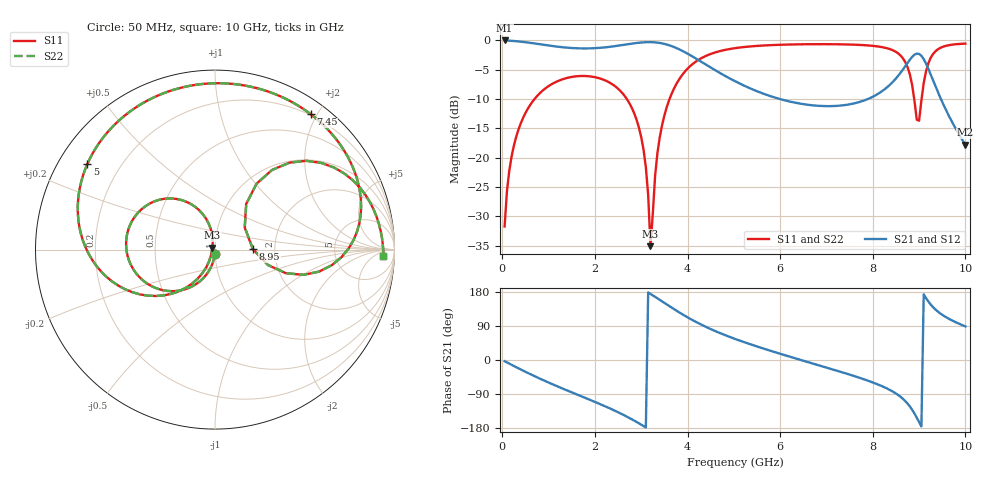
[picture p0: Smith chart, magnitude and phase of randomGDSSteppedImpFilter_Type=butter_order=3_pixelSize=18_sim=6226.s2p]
! freq	dB(S11)	phase(S11)	dB(S12)	phase(S12)
!  dB(S21)	phase(S21)	dB(S22)	phase(S22)
!S-par simulation data
#  GHz  S  DB  R 50
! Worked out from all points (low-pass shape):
!   200 points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, 50 MHz to 10 GHz, reference 50 ohm
!   highest |S21| = -0.01 dB at 50 MHz (marker M1); lowest = -17.8 dB at 10 GHz (marker M2)
!   |S21| within 3 dB of the highest: start of sweep to 4.164 GHz; 8.831 GHz to 9.083 GHz (252.8 MHz wide, 2.82 % of centre)
!   lowest |S11| = -35.1 dB at 3.2 GHz (marker M3), VSWR 1.04, Z = 48.6 + j0.974 ohm
!   |S11| at or under -10 dB: start of sweep to 695.9 MHz; 2.688 GHz to 3.612 GHz (923.4 MHz wide, 29.3 % of centre); 8.895 GHz to 9.054 GHz (159.2 MHz wide, 1.77 % of centre)
!   |S22| runs from -35.0 to -0.5 dB; largest |S21 - S12| = 0
!   S11 on the Smith chart (normalised r, x): 50 MHz: 1.00, -0.05; 5 GHz: 0.08, +0.30; 7.45 GHz: 0.19, +1.92; 8.95 GHz: 1.53, +0.01; 10 GHz: 24, -14
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0.05  -31.76 -93.3  -0.01 -3.2  -0.01 -3.2  -31.76 -93.3
0.2  -19.83 -103.1  -0.07 -12.7  -0.07 -12.7  -19.83 -103.1
0.5  -12.39 -121.7  -0.30 -31.1  -0.30 -31.1  -12.39 -121.7
1.05  -7.54 -152.7  -0.92 -62.2  -0.92 -62.2  -7.54 -152.7
1.75  -6.06 171.8  -1.37 -97.9  -1.37 -97.9  -6.06 171.8
2.85  -12.47 112.0  -0.49 -160.0  -0.49 -160.0  -12.47 112.1
3.1  -21.63 100.9  -0.30 -177.9  -0.30 -177.9  -21.63 101.1
3.2  -35.11 145.2  -0.29 174.5  -0.29 174.5  -35.01 145.5
3.4  -16.54 -118.1  -0.43 158.7  -0.43 158.7  -16.54 -118.1
4  -4.82 -159.4  -2.25 112.6  -2.25 112.6  -4.82 -159.5
5  -1.35 146.2  -6.86 56.8  -6.86 56.8  -1.35 146.2
5.05  -1.29 144.0  -7.06 54.6  -7.06 54.6  -1.29 144.0
5.85  -0.78 112.3  -9.66 22.1  -9.66 22.1  -0.78 112.3
6.7  -0.64 81.7  -11.08 -9.0  -11.08 -9.0  -0.64 81.7
7.45  -0.69 54.7  -10.97 -36.6  -10.97 -36.6  -0.69 54.7
8.35  -1.43 16.3  -7.71 -77.7  -7.71 -77.7  -1.43 16.3
8.75  -4.54 -11.9  -3.86 -114.8  -3.86 -114.8  -4.54 -11.9
8.95  -13.53 0.8  -2.25 -152.2  -2.25 -152.2  -13.50 0.9
9.05  -10.24 55.6  -2.62 -175.4  -2.62 -175.4  -10.23 55.5
9.25  -2.97 44.2  -5.80 146.5  -5.80 146.5  -2.97 44.1
9.55  -0.99 19.9  -11.36 115.3  -11.36 115.3  -0.99 19.8
10  -0.55 -2.1  -17.81 88.6  -17.81 88.6  -0.55 -2.1
